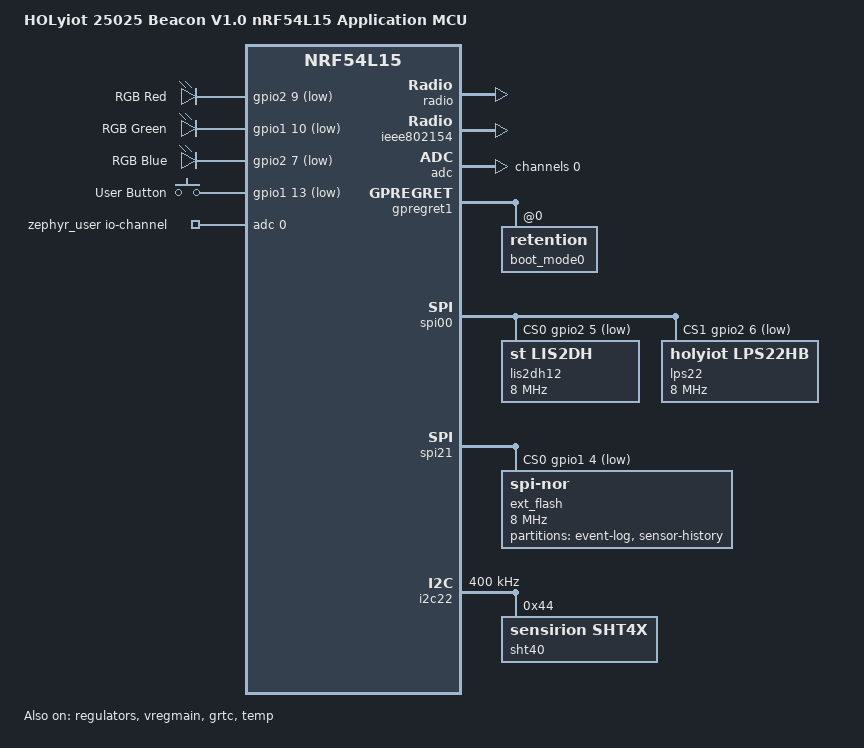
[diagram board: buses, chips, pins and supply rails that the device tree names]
/*
 * HOLyiot 25025 Beacon V1.0 (nRF54L15 Smart Tag) - application core.
 *
 * Derived from schematic 25025-beacon-V1.0-sch.pdf.
 * SPDX-License-Identifier: Apache-2.0
 */

/dts-v1/;

#include <nordic/nrf54l15_cpuapp.dtsi>
#include <zephyr/dt-bindings/adc/nrf-saadc.h>
#include "holyiot_25025_nrf54l15-pinctrl.dtsi"

/ {
	compatible = "holyiot,holyiot-25025-cpuapp";
	model = "HOLyiot 25025 Beacon V1.0 nRF54L15 Application MCU";

	chosen {
		zephyr,flash-controller = &rram_controller;
		zephyr,flash = &cpuapp_rram;
		zephyr,sram = &cpuapp_sram;
		zephyr,code-partition = &slot0_partition;
		zephyr,ieee802154 = &ieee802154;
		zephyr,boot-mode = &boot_mode0;
		/*
		 * No zephyr,console / zephyr,shell-uart: the product exposes no
		 * UART.  Use SEGGER RTT (CONFIG_RTT_CONSOLE=y).
		 */
	};

	leds {
		compatible = "gpio-leds";

		/* RGB LED is common anode, so the GPIOs are active low. */
		led_red: led_red {
			gpios = <&gpio2 9 GPIO_ACTIVE_LOW>;
			label = "RGB Red";
		};

		led_green: led_green {
			gpios = <&gpio1 10 GPIO_ACTIVE_LOW>;
			label = "RGB Green";
		};

		led_blue: led_blue {
			gpios = <&gpio2 7 GPIO_ACTIVE_LOW>;
			label = "RGB Blue";
		};
	};

	buttons {
		compatible = "gpio-keys";

		/* 100 kOhm pull-up to VCC, switch to GND. */
		user_button: button_0 {
			gpios = <&gpio1 13 (GPIO_PULL_UP | GPIO_ACTIVE_LOW)>;
			label = "User Button";
			zephyr,code = <INPUT_KEY_0>;
		};
	};

	aliases {
		led0 = &led_red;
		led1 = &led_green;
		led2 = &led_blue;
		led-red = &led_red;
		led-green = &led_green;
		led-blue = &led_blue;
		sw0 = &user_button;
		user-button = &user_button;
		sht40 = &sht40;
		lis2dh12 = &lis2dh12;
		lps22 = &lps22;
		ext-flash = &ext_flash;
		watchdog0 = &wdt31;
	};

	/* Battery ADC channel, read by sensors/sensor_manager.c. */
	zephyr_user: zephyr,user {
		io-channels = <&adc 0>;
	};
};

&cpuapp_sram {
	status = "okay";
};

/*
 * Y2 = 32.768 kHz, Y1 = 32 MHz, both with small external trim capacitors
 * (0.5 pF / 0.75 pF / 3.9 pF on the schematic), so the on-chip load
 * capacitors are in use.
 *
 * TODO: the values below are the nRF54L15 DK defaults.  Measure the actual
 * frequency error on hardware and trim them to the crystals' specified CL
 * before release - they affect BLE/802.15.4 frequency accuracy.
 */
&lfxo {
	load-capacitors = "internal";
	load-capacitance-femtofarad = <17000>;
};

&hfxo {
	load-capacitors = "internal";
	load-capacitance-femtofarad = <15000>;
};

&regulators {
	status = "okay";
};

&vregmain {
	status = "okay";
	regulator-initial-mode = <NRF5X_REG_MODE_DCDC>;
};

&grtc {
	owned-channels = <0 1 2 3 4 5 6 7 8 9 10 11>;
	/* Channels 7-11 reserved for Zero Latency IRQs, 3-4 for FLPR */
	child-owned-channels = <3 4 7 8 9 10 11>;
	status = "okay";
};

&gpio0 {
	status = "okay";
};

&gpio1 {
	status = "okay";
};

&gpio2 {
	status = "okay";
};

/*
 * GPIOTE20 covers port P1 (user button).  Port P2 has no GPIOTE at all on
 * nRF54L15, so the LIS2DH12 INT1/INT2 lines on P2.00/P2.03 cannot raise
 * GPIO interrupts or wake the SoC - see the board README.
 */
&gpiote20 {
	status = "okay";
};

&gpiote30 {
	status = "okay";
};

&radio {
	status = "okay";
};

&ieee802154 {
	status = "okay";
};

&temp {
	status = "okay";
};

&clock {
	status = "okay";
};

/*
 * Battery measurement. There is no divider on the PCB - the CR2032 feeds VCC
 * through a P-channel FET with no regulator, so the SoC supply rail is the
 * cell voltage and the SAADC's internal VDD channel reads it directly.
 *
 * NOT NRF_SAADC_AVDD: on nRF54L15 that channel is the internal 0.9 V analog
 * supply rail (SAADC_CH_PSELP_INTERNAL_Avdd, see nrf54l15_types.h), unrelated
 * to the battery. NRF_SAADC_VDD (SAADC_CH_PSELP_INTERNAL_Vdd, "Connected to
 * VDD") is the one that reads the actual supply pin. NRF_SAADC_VBAT does not
 * exist on this die - it's a dt-binding shim shared with other nRF54 parts.
 */
&adc {
	status = "okay";
	#address-cells = <1>;
	#size-cells = <0>;

	channel@0 {
		reg = <0>;
		zephyr,gain = "ADC_GAIN_1_4";
		zephyr,reference = "ADC_REF_INTERNAL";
		zephyr,acquisition-time = <ADC_ACQ_TIME(ADC_ACQ_TIME_MICROSECONDS, 10)>;
		zephyr,input-positive = <NRF_SAADC_VDD>;
		zephyr,resolution = <12>;
	};
};

&gpregret1 {
	status = "okay";

	boot_mode0: boot_mode@0 {
		compatible = "zephyr,retention";
		status = "okay";
		reg = <0x0 0x1>;
	};
};

/*
 * Sensor SPI bus, real hardware SPIM00 (high-speed domain, port P2).
 * SCK P2.01, MOSI P2.02, MISO P2.04, CS_LIS2DH12 P2.05, CS_LPS22 P2.06.
 *
 * This bus was bit-banged over GPIO for a while, on the belief that P2.01
 * was not a clock-capable SCK pin for SPIM00. It is. The -EINVAL that
 * conclusion rested on came from spi-max-frequency = 10 MHz, which SPIM00's
 * 128 MHz base clock cannot divide down to - see the pinctrl .dtsi header
 * for the arithmetic. At 8 MHz the peripheral initialises and both parts
 * answer; confirmed on hardware.
 *
 * Keep spi-max-frequency here an exact even divisor of 128 MHz. 8 MHz is
 * also comfortably under the 10 MHz ceiling both parts specify.
 */
&spi00 {
	status = "okay";
	pinctrl-0 = <&spi00_default>;
	pinctrl-1 = <&spi00_sleep>;
	pinctrl-names = "default", "sleep";

	cs-gpios = <&gpio2 5 GPIO_ACTIVE_LOW>,	/* CS_LIS2DH12 */
		   <&gpio2 6 GPIO_ACTIVE_LOW>;	/* CS_LPS22     */

	lis2dh12: lis2dh12@0 {
		compatible = "st,lis2dh";
		reg = <0>;
		spi-max-frequency = <8000000>;

		/*
		 * INT1 = P2.00, INT2 = P2.03, active high out of the sensor.
		 *
		 * WARNING: port P2 on nRF54L15 has no GPIOTE and no SENSE /
		 * DETECT, so these lines can NOT raise a GPIO interrupt and
		 * can NOT wake the SoC.  They are declared here because that
		 * is how the PCB is wired, but do not enable
		 * CONFIG_LIS2DH_TRIGGER_* - gpio_pin_interrupt_configure()
		 * returns -ENOTSUP and the driver's init will fail.
		 * Motion detection has to be polled on this revision.
		 *
		 * This one is a genuine silicon limitation, unrelated to the
		 * bit-bang episode above - it is not another config bug.
		 */
		// irq-gpios = <&gpio2 0 GPIO_ACTIVE_HIGH>,
		// 	    <&gpio2 3 GPIO_ACTIVE_HIGH>;

		/* Save the SDO/SA0 pull-up leakage - unused in 4-wire SPI. */
		disconnect-sdo-sa0-pull-up;

		status = "okay";
	};

	/*
	 * The schematic part is an LPS22HB (WHO_AM_I 0xB1). Zephyr's lps22hb
	 * driver is I2C only, and the SPI-capable, register-compatible
	 * lps22hh driver rejects any WHO_AM_I other than 0xB3 - see the
	 * board README. Bound to the local drivers/sensor/lps22hb_spi driver
	 * instead (CONFIG_LPS22HB_SPI, CONFIG_LPS22HH stays off), which
	 * accepts either ID and otherwise follows the same register
	 * sequence.
	 */
	lps22: lps22hb@1 {
		compatible = "holyiot,lps22hb";
		reg = <1>;
		spi-max-frequency = <8000000>;
		status = "okay";
	};
};

/*
 * External SPI NOR, real hardware SPIM21. P1.07 (SCK) is clock-capable - the
 * original failure here was a wrong jedec-id, not a pin restriction.
 * Confirmed on hardware: with the corrected ID this bus reads/erases/writes
 * fine as SPIM21.
 *
 * 8 MHz against SPIM21's 16 MHz base clock gives prescaler 2, which is
 * exact. Do not copy frequencies between this node and spi00 - the two
 * instances have different base clocks.
 */
&spi21 {
	status = "okay";
	pinctrl-0 = <&spi21_default>;
	pinctrl-1 = <&spi21_sleep>;
	pinctrl-names = "default", "sleep";

	cs-gpios = <&gpio1 4 GPIO_ACTIVE_LOW>;

	ext_flash: flash@0 {
		compatible = "jedec,spi-nor";
		reg = <0>;
		spi-max-frequency = <8000000>;

		/*
		 * 68 40 15 (assumed Boya BY25Q16BS) was wrong. A raw RDID
		 * (0x9f) read during bring-up - both at boot, through the
		 * jedec,spi-nor driver's own ID check, and independently via
		 * a hand-issued command in hw_validation.c - consistently
		 * reports 68 10 15. Manufacturer (68) and capacity (15, 16
		 * Mbit) match Boya as expected; only the memory-type byte
		 * differs, most likely a different BY25Q16B sub-variant than
		 * assumed rather than a different part entirely.
		 */
		jedec-id = [68 10 15];
		/* "size" is in bits. */
		size = <16777216>;

		has-dpd;
		t-enter-dpd = <3000>;
		t-exit-dpd = <30000>;

		status = "okay";

		partitions {
			compatible = "fixed-partitions";
			#address-cells = <1>;
			#size-cells = <1>;

			/*
			 * PLAN.md section 9. Two independent circular logs, so a
			 * burst of shock events cannot evict the climate history a
			 * shipping audit needs, and vice versa. Configuration and
			 * statistics live in the internal RRAM settings partition
			 * instead - see src/storage/config_storage.h.
			 */
			event_log_partition: partition@0 {
				label = "event-log";
				reg = <0x00000000 DT_SIZE_K(256)>;
			};

			sensor_log_partition: partition@40000 {
				label = "sensor-history";
				reg = <0x00040000 DT_SIZE_K(1792)>;
			};
		};
	};
};

/*
 * SHT40 I2C, real hardware TWIM22. P1.09 (SCL) is clock-capable - the
 * original failure here was the wrong SHT40 address (0x45 assumed, 0x44
 * fitted), not a pin restriction. Confirmed on hardware: with the corrected
 * address this bus scans and reads fine as TWIM22.
 */
&i2c22 {
	status = "okay";
	clock-frequency = <I2C_BITRATE_FAST>;
	pinctrl-0 = <&i2c22_default>;
	pinctrl-1 = <&i2c22_sleep>;
	pinctrl-names = "default", "sleep";

	sht40: sht4x@44 {
		compatible = "sensirion,sht4x";
		reg = <0x44>;
		repeatability = <2>;
		status = "okay";
	};
};

/* Include default memory partition configuration file */
#include <vendor/nordic/nrf54l15_cpuapp_partition.dtsi>
